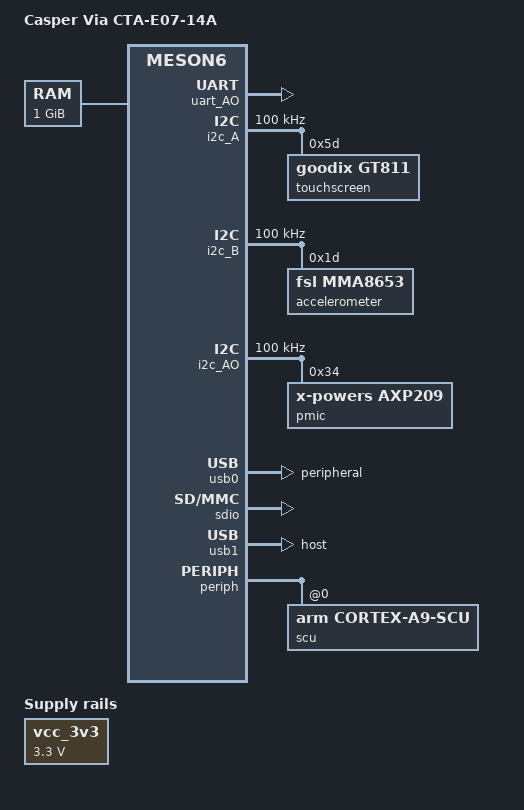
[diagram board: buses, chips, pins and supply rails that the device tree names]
// SPDX-License-Identifier: GPL-2.0 OR MIT
/*
 * Casper Via CTA-E07-14A tablet (Amlogic AML8726-MX / Meson6, "g34" board).
 * Values from the stock bootloader env and 3.0.8 dmesg (see backup/).
 */

/dts-v1/;
#include "meson6.dtsi"

/ {
	model = "Casper Via CTA-E07-14A";
	compatible = "casper,via-cta-e07", "amlogic,meson6";

	aliases {
		serial0 = &uart_AO;
	};

	chosen {
		#address-cells = <1>;
		#size-cells = <1>;
		ranges;
		stdout-path = "serial0:115200n8";

		// bootloader env: fb_addr=0x85100000 display_width=1024 display_height=600 display_bpp=16
		framebuffer@85100000 {
			compatible = "simple-framebuffer";
			reg = <0x85100000 (1024 * 600 * 2)>;
			width = <1024>;
			height = <600>;
			stride = <(1024 * 2)>;
			format = "r5g6b5";
		};
	};

	// ponytail: card VDD shown as an always-on 3.3V rail; its real switch (if any) is unknown
	vcc_3v3: regulator-3v3 {
		compatible = "regulator-fixed";
		regulator-name = "VCC_3V3";
		regulator-min-microvolt = <3300000>;
		regulator-max-microvolt = <3300000>;
		regulator-always-on;
	};

	// LED_PWM_REG2 bits 3:0 (found by sweeping stock aml-bl brightness)
	backlight@c1108768 {
		compatible = "amlogic,meson6-led-pwm-backlight";
		reg = <0xc1108768 0x4>;
	};

	memory@80000000 {
		device_type = "memory";
		reg = <0x80000000 0x40000000>;	/* mem=1024m */
	};

	reserved-memory {
		#address-cells = <1>;
		#size-cells = <1>;
		ranges;

		// ponytail: covers all four stock OSD buffers (0x84100000..) + the u-boot fb
		display@84000000 {
			reg = <0x84000000 0x1400000>;
			no-map;
		};

		// 1 MiB hole stock 3.0.8 neither uses as RAM nor claims (see /proc/iomem):
		// survives the trip back to Android, read with ota/memdump
		ramoops@9ff00000 {
			compatible = "ramoops";
			reg = <0x9ff00000 0x100000>;
			record-size = <0x20000>;
			console-size = <0x80000>;
		};
	};
};

&uart_AO {
	status = "okay";
};

// Bus mapping from stock /proc/iomem: aml-i2c.0 = i2c_A, .1 = i2c_B, .2 = i2c_AO.
// ponytail: no Meson6 pinctrl yet; /init applies stock pinmux + GPIO state (kernel/pinmux.sh).

&i2c_A {	/* stock adap0: Goodix GT811 @5d, cameras gc0329 @31, gc2035 @3c */
	clocks = <&clk81>;
	clock-frequency = <100000>;
	status = "okay";

	// Raw axes: x = panel short side (0..600), y = long side reversed (0..1024).
	// Swap + invert both, checked by touching the four corners on mainline.
	touchscreen@5d {
		compatible = "goodix,gt811";
		reg = <0x5d>;
		touchscreen-size-x = <600>;
		touchscreen-size-y = <1024>;
		touchscreen-swapped-x-y;
		touchscreen-inverted-x;
		touchscreen-inverted-y;
	};
};

&i2c_B {	/* stock adap1: WM8960 @1a, MMA8653 @1d (WHO_AM_I 0x5a); MMA7660 @4c not fitted */
	clocks = <&clk81>;
	clock-frequency = <100000>;
	// Meson8's SPI 128 never fires here and no free SPI latches on stock either
	// (GIC edge-latch test on stock Android): drop it, patched i2c-meson busy-polls.
	/delete-property/ interrupts;
	status = "okay";

	accelerometer@1d {
		compatible = "fsl,mma8653";
		reg = <0x1d>;
	};
};

&i2c_AO {	/* stock adap2: AXP209 @34 */
	clocks = <&clk81>;
	clock-frequency = <100000>;
	status = "okay";

	// No interrupts yet (line unknown) -> axp20x runs regulator-only.
	// No regulators node on purpose: core leaves unconstrained rails as they are.
	pmic: pmic@34 {
		compatible = "x-powers,axp209";
		reg = <0x34>;

		// with no IRQ, patched axp20x adds these by polling (patches/0003)
		axp_adc: adc {
			compatible = "x-powers,axp209-adc";
			#io-channel-cells = <1>;
		};

		battery-power {
			compatible = "x-powers,axp209-battery-power-supply";
		};
	};
};

// OTG port (stock: dwc_otg_pcd on SPI 30). PHY A lives at 0xc1108400 on Meson6 (meson.dtsi's
// 0x8800 is Meson8) and needs FSEL=2, not the 5 phy-meson8b-usb2 writes, so /init programs it
// with stock values. The compatible is deliberately unmatched: /init turns USB clock gates on
// first, then binds dwc2 via driver_override (touching a gated dwc2 can hang the bus).
&usb0 {
	compatible = "casper,dwc2-bind-from-init";
	/delete-property/ phys;
	/delete-property/ phy-names;
	dr_mode = "peripheral";
	status = "okay";
};

// SD card slot: port B (u-boot leaves SDIO MULT = 0x80001001 after `mmcinfo`), pins on
// MUX2 bits 10-15 (0xfc00, applied by /init). Stock Android never touched it.
&sdio {
	compatible = "amlogic,meson8-sdio", "amlogic,meson-mx-sdio";
	clocks = <&clk81>, <&clk81>;
	clock-names = "core", "clkin";
	status = "okay";

	sd_card_slot: slot@1 {
		compatible = "mmc-slot";
		reg = <1>;
		// 4-bit reads come back with the same bits flipped every time (MBR 55aa -> 5fab);
		// u-boot also runs this slot 1-bit (SDIO CONF bit 20 clear). Slow but correct.
		bus-width = <1>;
		broken-cd;
		no-sdio;
		no-mmc;
		max-frequency = <25000000>;
		vmmc-supply = <&vcc_3v3>;
	};
};

// Wi-Fi: MediaTek MT7601U (148f:7601) hangs off the second OTG controller in host mode.
// PHY B (0xc1108420) is programmed by /init like PHY A; power is AO GPIO bit 19 (gpio_state).
&usb1 {
	compatible = "casper,dwc2-bind-from-init";
	/delete-property/ phys;
	/delete-property/ phy-names;
	dr_mode = "host";
	status = "okay";
};

// SMP: CPU1 waits in the boot ROM on the AHB SRAM mailbox (stock leaves CTRL=0x3,
// ADDR=its secondary_startup), same layout as Meson8; enable-method in patches/0006.
/ {
	cpus {
		enable-method = "amlogic,meson6-smp";
	};
};

&ahb_sram {
	smp-sram@1ff80 {
		compatible = "amlogic,meson6-smp-sram";
		reg = <0x1ff80 0x8>;
	};
};

&periph {
	scu@0 {
		compatible = "arm,cortex-a9-scu";
		reg = <0x0 0x100>;
	};

	// per-CPU tick: the Meson6 timer only interrupts CPU0. No clock given, so
	// arm_twd calibrates its rate against jiffies.
	timer@600 {
		compatible = "arm,cortex-a9-twd-timer";
		reg = <0x600 0x20>;
		interrupts = <GIC_PPI 13 (GIC_CPU_MASK_SIMPLE(2) | IRQ_TYPE_EDGE_RISING)>;
	};
};
